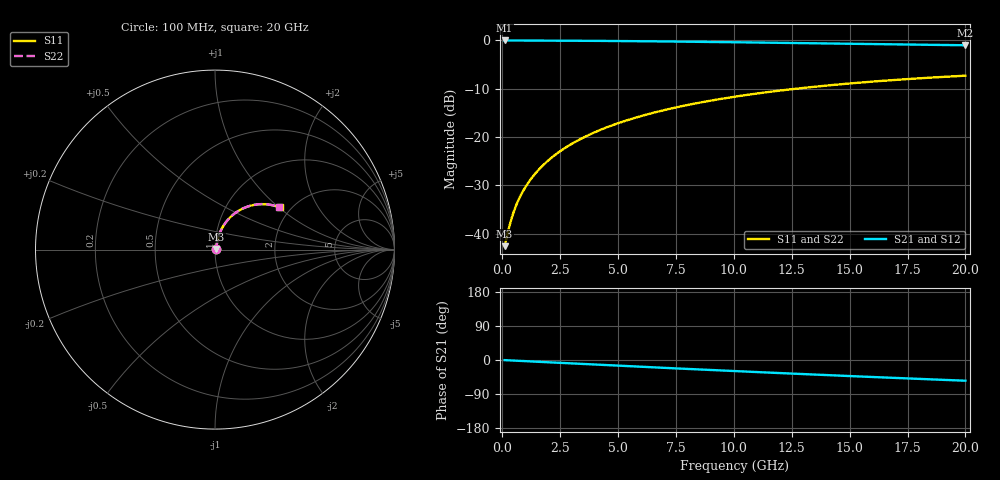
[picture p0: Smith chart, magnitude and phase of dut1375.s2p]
! Touchstone file exported from HFSS 2026.1.0
!  File:  C:/ffzhzh/LocalFiles/Ansys_Project_Files/temp_train_TMRDL_1375_1783165946_22436.aedt
!  Generated:  07:53:52 PM Jul  4, 2026
!  Design:  TMRDL
!  Project:  temp_train_TMRDL_1375_1783165946_22436
! Variables:
!  h_bsmrdl = 2um
!  h_ox = 20um
!  h_rdl = 5um
!  h_sub = 80um
!  h_tmrdl = 2.67um
!  h_tsv = 80um
!  h_via = 3um
!  l_bsmrdl = 300um
!  l_sub = 1268.76um
!  l_tmrdl = 868.76um
!  m_sub = 200um
!  pitch = 35.41um
!  r_tsv = 6um
!  s_tmrdl = 10um
!  w_bsmrdl = 18um
!  w_sub = 500um
!  w_tmrdl = 17.45um
!  x_tsv_center1 = 877.485um
!  x_tsv_center2 = 1195.485um
!  x_tsv_center3 = 2081.695um
!  x_tsv_center4 = 2399.695um
!  x_tsv_center5 = 3285.905um
!  x_tsv_center6 = 3603.905um
# GHz S MA R 50.000000
! Terminal data exported
! Port[1] = TM_RDL1_1_T1
! Port[2] = TM_RDL1_1_T2
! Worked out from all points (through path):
!   200 points, 100 MHz to 20 GHz, reference 50 ohm
!   highest |S21| = -0.06 dB at 100 MHz (marker M1); lowest = -1.1 dB at 20 GHz (marker M2)
!   group delay of S21, straight-line fit = 7.6 ps
!   lowest |S11| = -42.6 dB at 100 MHz (marker M3), VSWR 1.01, Z = 50.7 + j0.32 ohm
!   |S11| at or under -10 dB: start of sweep to 12.74 GHz
!   |S22| runs from -42.6 to -7.3 dB; largest |S21 - S12| = 3.2e-15
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0.1  0.007435 25.2  0.9933 -0.3  0.9933 -0.3  0.007435 25.2
! Gamma 0 0 0 0
! Port Impedance 50 0 50 0
0.3  0.01178 51.9  0.9928 -1.0  0.9928 -1.0  0.01178 51.9
0.4  0.01438 57.9  0.9926 -1.3  0.9926 -1.3  0.01438 57.9
0.5  0.01703 61.9  0.9923 -1.6  0.9923 -1.6  0.01702 61.9
0.6  0.01969 64.8  0.992 -1.9  0.992 -1.9  0.01968 64.8
0.7  0.02235 66.9  0.9918 -2.2  0.9918 -2.2  0.02235 66.9
0.9  0.02769 69.9  0.9914 -2.8  0.9914 -2.8  0.02769 69.9
1.2  0.03576 72.5  0.9909 -3.7  0.9909 -3.7  0.03576 72.5
1.4  0.04119 73.6  0.9905 -4.3  0.9905 -4.3  0.04118 73.6
1.7  0.04936 74.5  0.99 -5.2  0.99 -5.2  0.04936 74.5
2.2  0.06304 75.1  0.989 -6.6  0.989 -6.6  0.06304 75.1
2.8  0.07946 74.8  0.9876 -8.4  0.9876 -8.4  0.07945 74.9
3.5  0.0985 73.9  0.9856 -10.5  0.9856 -10.5  0.09849 73.9
4.2  0.1173 72.5  0.9832 -12.6  0.9832 -12.6  0.1173 72.6
5  0.1385 70.8  0.98 -14.9  0.98 -14.9  0.1385 70.8
5.9  0.1619 68.6  0.976 -17.6  0.976 -17.6  0.1619 68.6
6.8  0.1846 66.3  0.9714 -20.1  0.9714 -20.1  0.1846 66.3
8.3  0.221 62.4  0.963 -24.4  0.963 -24.4  0.221 62.4
10.1  0.2619 57.6  0.9517 -29.4  0.9517 -29.4  0.2619 57.7
13.4  0.3286 49.1  0.9294 -38.3  0.9294 -38.3  0.3286 49.2
16.7  0.3844 40.9  0.9069 -46.7  0.9069 -46.7  0.3844 41.0
20  0.4296 33.1  0.8861 -54.7  0.8861 -54.7  0.4295 33.3
